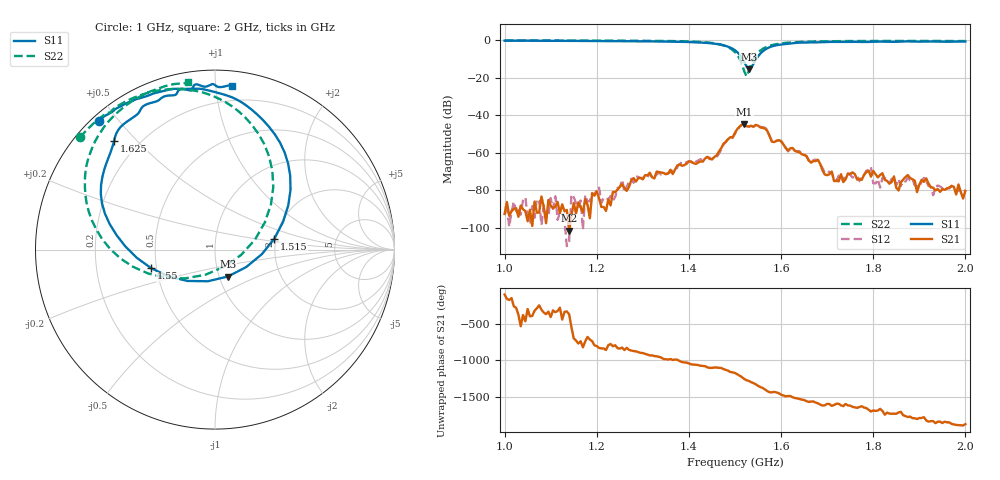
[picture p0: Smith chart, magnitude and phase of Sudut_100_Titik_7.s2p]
# Hz S RI R 50
! CMT, C1220, 16058040, 17.2.0/1
! Date: 14/08/2018 12:13:15
! Data: Format (Calibration Info)
! Freq  S11: Re/Im (F2)  S21: Re/Im (F2)  S12: Re/Im (F2)  S22: Re/Im (F2)
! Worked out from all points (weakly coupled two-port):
!   201 points, 1 GHz to 2 GHz, reference 50 ohm
!   highest |S21| = -44.96 dB at 1.52 GHz (marker M1); lowest = -101.5 dB at 1.14 GHz (marker M2)
!   lowest |S11| = -15.6 dB at 1.53 GHz (marker M3), VSWR 1.40, Z = 55 - j17 ohm
!   |S11| at or under -10 dB: 1.516 GHz to 1.546 GHz (30.03 MHz wide, 1.96 % of centre)
!   |S22| runs from -19.3 to -0.2 dB; largest |S21 - S12| = 0.00028
!   S11 on the Smith chart (normalised r, x): 1 GHz: 0.02, +0.44; 1.515 GHz: 1.96, +0.27; 1.55 GHz: 0.47, -0.11; 1.625 GHz: 0.11, +0.43; 2 GHz: 0.10, +1.11
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1e9  -0.6467 0.7147  -5.12e-06 -2.28e-05  -2.05e-05 -2.86e-05  -0.7534 0.6249
1.14e9  -0.5035 0.8103  8.22e-06 -1.74e-06  -3.11e-06 2.86e-06  -0.646 0.7287
1.17e9  -0.4772 0.8225  -6.66e-06 -2.49e-05  -3.43e-06 8.17e-06  -0.6166 0.7507
1.265e9  -0.3385 0.8714  -3.68e-05 -8.89e-05  -7.72e-05 -0.0001  -0.5155 0.8162
1.335e9  -0.2182 0.8954  -0.000174 0.00025  -0.000124 0.000267  -0.4004 0.8655
1.45e9  0.179 0.7995  0.000598 -0.000296  0.000574 -0.000334  0.0244 0.8397
1.5e9  0.4207 0.3336  -0.000355 -0.00339  -0.00034 -0.00319  0.3247 0.3479
1.515e9  0.3309 0.0617  -0.00495 -0.00253  -0.0049 -0.00268  0.2229 0.0554
1.52e9  0.2614 -0.0253  -0.00564 -0.000233  -0.00573 -0.000344  0.1454 -0.0299
1.53e9  0.0718 -0.1499  -0.00447 0.00214  -0.00448 0.0022  -0.0543 -0.1404
1.55e9  -0.3551 -0.1039  0.000207 0.00526  -5.15e-06 0.0053  -0.4556 -0.0963
1.625e9  -0.5627 0.6033  0.000502 -0.00124  0.000574 -0.00118  -0.7015 0.5202
1.67e9  -0.4428 0.7457  -0.000353 -0.000482  -0.000345 -0.000534  -0.6257 0.6723
1.72e9  -0.347 0.8198  -0.000168 -6.81e-05  -0.000155 -7.63e-05  -0.5428 0.7647
1.795e9  -0.2099 0.876  -2.45e-05 0.000229  -0.000238 0.000339  -0.4311 0.8451
1.8e9  -0.2059 0.8832  -0.000117 0.000305  -7.01e-05 0.000137  -0.4239 0.8492
1.835e9  -0.1426 0.8873  5.58e-05 0.000139  4.86e-05 0.000142  -0.3764 0.874
1.855e9  -0.1236 0.9019  1.06e-05 9.81e-05  0.000127 0.000147  -0.3488 0.8857
1.875e9  -0.104 0.9208  0.000236 9.11e-05  0.000193 8.55e-05  -0.3203 0.8965
1.895e9  -0.0652 0.9086  8.85e-05 -1.06e-05  0.000125 3.4e-05  -0.2915 0.9062
1.915e9  -0.0288 0.9164  0.000187 -8.77e-05  0.000157 -6.93e-05  -0.2649 0.9143
2e9  0.0964 0.9122  2.22e-05 -9.35e-05  4.84e-05 -7.84e-05  -0.1523 0.9329
